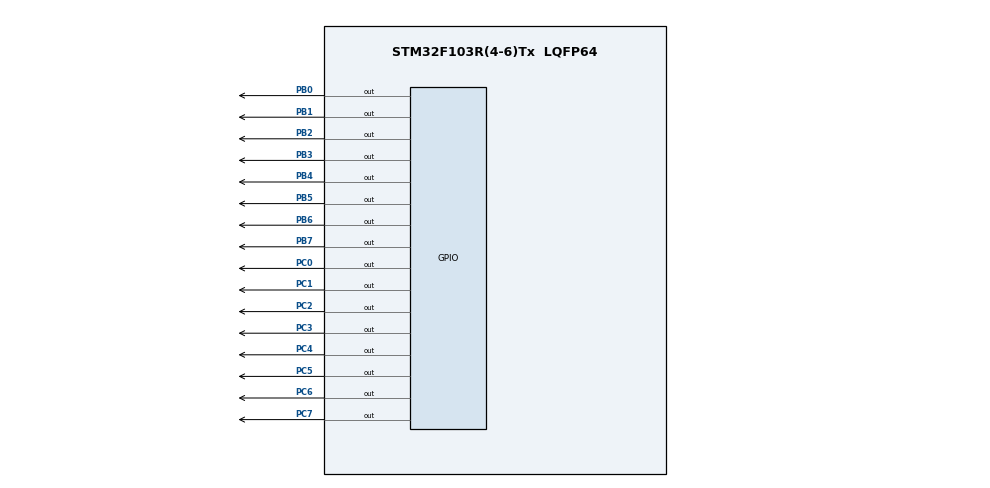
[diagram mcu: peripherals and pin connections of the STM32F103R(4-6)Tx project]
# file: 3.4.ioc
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Mcu.Family=STM32F1
Mcu.Name=STM32F103R(4-6)Tx
Mcu.Package=LQFP64
NVIC.PriorityGroup=NVIC_PRIORITYGROUP_4
PB0.PinState=GPIO_PIN_SET
PB0.Signal=GPIO_Output
PB1.PinState=GPIO_PIN_SET
PB1.Signal=GPIO_Output
PB2.PinState=GPIO_PIN_SET
PB2.Signal=GPIO_Output
PB3.PinState=GPIO_PIN_SET
PB3.Signal=GPIO_Output
PB4.PinState=GPIO_PIN_SET
PB4.Signal=GPIO_Output
PB5.PinState=GPIO_PIN_SET
PB5.Signal=GPIO_Output
PB6.PinState=GPIO_PIN_SET
PB6.Signal=GPIO_Output
PB7.PinState=GPIO_PIN_SET
PB7.Signal=GPIO_Output
PC0.PinState=GPIO_PIN_SET
PC0.Signal=GPIO_Output
PC1.PinState=GPIO_PIN_SET
PC1.Signal=GPIO_Output
PC2.PinState=GPIO_PIN_SET
PC2.Signal=GPIO_Output
PC3.PinState=GPIO_PIN_SET
PC3.Signal=GPIO_Output
PC4.PinState=GPIO_PIN_SET
PC4.Signal=GPIO_Output
PC5.PinState=GPIO_PIN_SET
PC5.Signal=GPIO_Output
PC6.PinState=GPIO_PIN_SET
PC6.Signal=GPIO_Output
PC7.PinState=GPIO_PIN_SET
PC7.Signal=GPIO_Output
ProjectManager.HeapSize=0x200
ProjectManager.StackSize=0x400
ProjectManager.TargetToolchain=STM32CubeIDE
RCC.APB1Freq_Value=8000000
RCC.APB2Freq_Value=8000000
VP_SYS_VS_ND.Mode=No_Debug
board=custom

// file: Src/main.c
/* USER CODE BEGIN Header */
/**
  ******************************************************************************
  * @file           : main.c
  * @brief          : Main program body
  ******************************************************************************
  * @attention
  *
  * <h2><center>&copy; Copyright (c) 2019 STMicroelectronics.
  * All rights reserved.</center></h2>
  *
  * This software component is licensed by ST under BSD 3-Clause license,
  * the "License"; You may not use this file except in compliance with the
  * License. You may obtain a copy of the License at:
  *                        opensource.org/licenses/BSD-3-Clause
  *
  ******************************************************************************
  */
/* USER CODE END Header */

#include "main.h"

/* USER CODE BEGIN PV */
const uint8_t SegmentCodes[]=
{
0xc0,0xf9,0xa4,0xb0,0x99,
0x92,0x82,0xf8,0x80,0x90
};
/* USER CODE END PV */

void SystemClock_Config(void);
static void MX_GPIO_Init(void);

int main(void)
{
  /* USER CODE BEGIN 1 */
	uint8_t i;
	uint64_t num=12345678;
	uint8_t unit[8];
  /* USER CODE END 1 */

  /* MCU Configuration--------------------------------------------------------*/

  /* Reset of all peripherals, Initializes the Flash interface and the Systick. */
  HAL_Init();

  /* Configure the system clock */
  SystemClock_Config();

  /* Initialize all configured peripherals */
  MX_GPIO_Init();

  /* Infinite loop */
  /* USER CODE BEGIN WHILE */
  while (1)
  {
	  unit[7]=num/10000000;
	  unit[6]=num%10000000/1000000;
	  unit[5]=num%1000000/100000;
	  unit[4]=num%100000/10000;
	  unit[3]=num%10000/1000;
	  unit[2]=num%1000/100;
	  unit[1]=num%100/10;
	  unit[0]=num%10;
	  for(i=0;i<8;i++)
	  {
		  LL_GPIO_WriteOutputPort(GPIOB,0xff);
		  LL_GPIO_WriteOutputPort(GPIOC,SegmentCodes[unit[i]]);
		  LL_GPIO_WriteOutputPort(GPIOB,(0x7f>>i)|(0x7f<<(8-i)));
		  HAL_Delay(1);
	  }
    /* USER CODE END WHILE */

  }
}

void SystemClock_Config(void)
{
  RCC_OscInitTypeDef RCC_OscInitStruct = {0};
  RCC_ClkInitTypeDef RCC_ClkInitStruct = {0};

  /** Initializes the CPU, AHB and APB busses clocks
  */
  RCC_OscInitStruct.OscillatorType = RCC_OSCILLATORTYPE_HSI;
  RCC_OscInitStruct.HSIState = RCC_HSI_ON;
  RCC_OscInitStruct.HSICalibrationValue = RCC_HSICALIBRATION_DEFAULT;
  RCC_OscInitStruct.PLL.PLLState = RCC_PLL_NONE;
  if (HAL_RCC_OscConfig(&RCC_OscInitStruct) != HAL_OK)
  {
    Error_Handler();
  }
  /** Initializes the CPU, AHB and APB busses clocks
  */
  RCC_ClkInitStruct.ClockType = RCC_CLOCKTYPE_HCLK|RCC_CLOCKTYPE_SYSCLK
                              |RCC_CLOCKTYPE_PCLK1|RCC_CLOCKTYPE_PCLK2;
  RCC_ClkInitStruct.SYSCLKSource = RCC_SYSCLKSOURCE_HSI;
  RCC_ClkInitStruct.AHBCLKDivider = RCC_SYSCLK_DIV1;
  RCC_ClkInitStruct.APB1CLKDivider = RCC_HCLK_DIV1;
  RCC_ClkInitStruct.APB2CLKDivider = RCC_HCLK_DIV1;

  if (HAL_RCC_ClockConfig(&RCC_ClkInitStruct, FLASH_LATENCY_0) != HAL_OK)
  {
    Error_Handler();
  }
}

static void MX_GPIO_Init(void)
{
  LL_GPIO_InitTypeDef GPIO_InitStruct = {0};

  /* GPIO Ports Clock Enable */
  LL_APB2_GRP1_EnableClock(LL_APB2_GRP1_PERIPH_GPIOC);
  LL_APB2_GRP1_EnableClock(LL_APB2_GRP1_PERIPH_GPIOB);

  /**/
  LL_GPIO_SetOutputPin(GPIOC, LL_GPIO_PIN_0|LL_GPIO_PIN_1|LL_GPIO_PIN_2|LL_GPIO_PIN_3
                          |LL_GPIO_PIN_4|LL_GPIO_PIN_5|LL_GPIO_PIN_6|LL_GPIO_PIN_7);

  /**/
  LL_GPIO_SetOutputPin(GPIOB, LL_GPIO_PIN_0|LL_GPIO_PIN_1|LL_GPIO_PIN_2|LL_GPIO_PIN_3
                          |LL_GPIO_PIN_4|LL_GPIO_PIN_5|LL_GPIO_PIN_6|LL_GPIO_PIN_7);

  /**/
  GPIO_InitStruct.Pin = LL_GPIO_PIN_0|LL_GPIO_PIN_1|LL_GPIO_PIN_2|LL_GPIO_PIN_3
                          |LL_GPIO_PIN_4|LL_GPIO_PIN_5|LL_GPIO_PIN_6|LL_GPIO_PIN_7;
  GPIO_InitStruct.Mode = LL_GPIO_MODE_OUTPUT;
  GPIO_InitStruct.Speed = LL_GPIO_SPEED_FREQ_LOW;
  GPIO_InitStruct.OutputType = LL_GPIO_OUTPUT_PUSHPULL;
  LL_GPIO_Init(GPIOC, &GPIO_InitStruct);

  /**/
  GPIO_InitStruct.Pin = LL_GPIO_PIN_0|LL_GPIO_PIN_1|LL_GPIO_PIN_2|LL_GPIO_PIN_3
                          |LL_GPIO_PIN_4|LL_GPIO_PIN_5|LL_GPIO_PIN_6|LL_GPIO_PIN_7;
  GPIO_InitStruct.Mode = LL_GPIO_MODE_OUTPUT;
  GPIO_InitStruct.Speed = LL_GPIO_SPEED_FREQ_LOW;
  GPIO_InitStruct.OutputType = LL_GPIO_OUTPUT_PUSHPULL;
  LL_GPIO_Init(GPIOB, &GPIO_InitStruct);

}

void Error_Handler(void)
{
}

/************************ (C) COPYRIGHT STMicroelectronics *****END OF FILE****/
